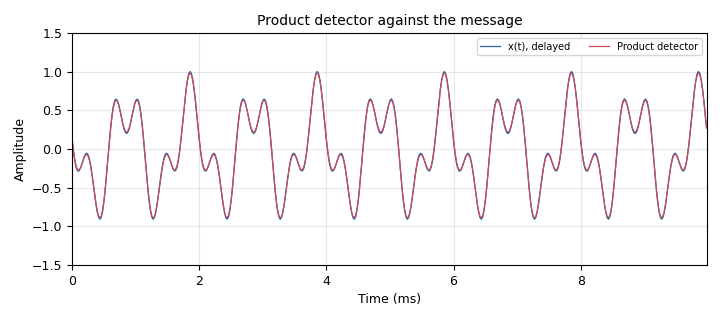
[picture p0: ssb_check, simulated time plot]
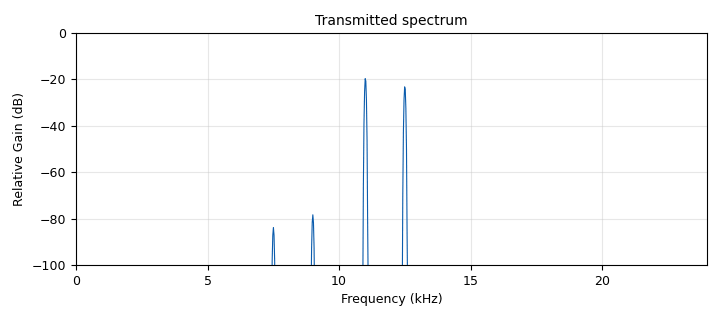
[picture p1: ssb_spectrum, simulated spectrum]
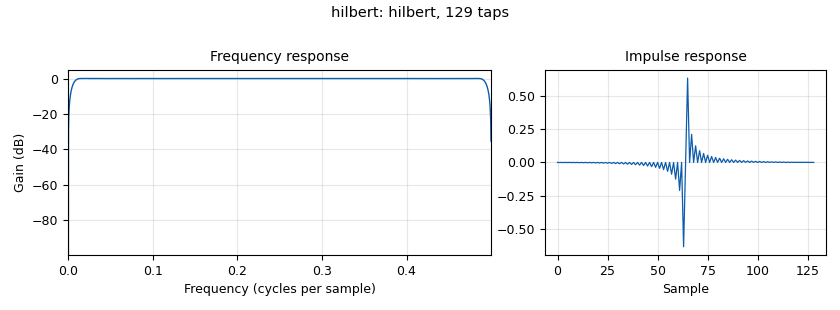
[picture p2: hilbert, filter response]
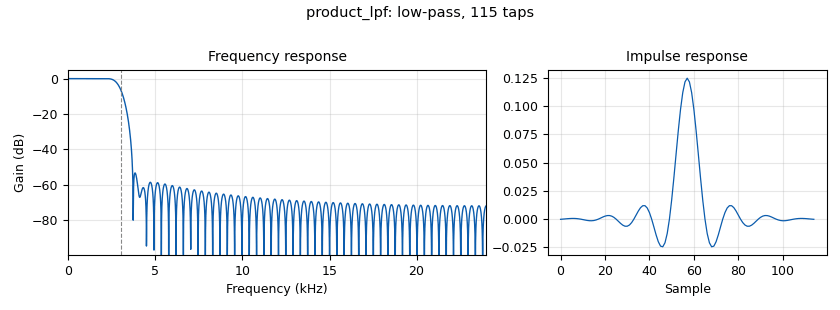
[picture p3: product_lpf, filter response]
options:
  parameters:
    author: ECE 448
    description: 'L6: the same message as single sideband, made by the phasing method with a Hilbert transform, and received with a product detector. Switch USB and LSB, and mistune the receiver.'
    generate_options: qt_gui
    id: L06_ssb
    output_language: python
    title: L6 - SSB
  states: {}

blocks:
- name: df
  id: variable_qtgui_range
  parameters:
    gui_hint: 0,0,1,1
    label: Receiver tuning error (Hz)
    start: '-500'
    step: '10'
    stop: '500'
    value: '0'
  states: {}
- name: fc
  id: variable
  parameters:
    value: '10000'
  states: {}
- name: hilbert_taps
  id: variable
  parameters:
    value: '129'
  states: {}
- name: lpf_taps
  id: variable_low_pass_filter_taps
  parameters:
    cutoff_freq: '3000'
    gain: '1.0'
    samp_rate: samp_rate
    width: '1000'
    win: window.WIN_HAMMING
  states: {}
- name: samp_rate
  id: variable
  parameters:
    value: '48000'
  states: {}
- name: sideband
  id: variable_qtgui_chooser
  parameters:
    gui_hint: 0,2,1,1
    label: Sideband
    label0: USB
    label1: LSB
    num_opts: '2'
    option0: '1'
    option1: '-1'
    type: int
    value: '1'
  states: {}
- name: vol
  id: variable_qtgui_range
  parameters:
    gui_hint: 0,1,1,1
    label: Volume
    start: '0'
    step: '0.05'
    stop: '1'
    value: '0.3'
  states: {}
- name: align
  id: blocks_delay
  parameters:
    delay: (hilbert_taps - 1)//2 + len(lpf_taps)//2
    type: float
  states: {}
- name: audio_sink_0
  id: audio_sink
  parameters:
    samp_rate: '48000'
  states: {}
- name: carrier
  id: analog_sig_source_x
  parameters:
    amp: '1'
    freq: sideband*fc
    offset: '0'
    phase: '0'
    samp_rate: samp_rate
    type: complex
    waveform: analog.GR_COS_WAVE
  states: {}
- name: hilbert
  id: hilbert_fc
  parameters:
    num_taps: hilbert_taps
  states: {}
- name: local_osc
  id: analog_sig_source_x
  parameters:
    amp: '1'
    freq: fc + df
    offset: '0'
    phase: '0'
    samp_rate: samp_rate
    type: float
    waveform: analog.GR_COS_WAVE
  states: {}
- name: message
  id: blocks_add_xx
  parameters:
    type: float
  states: {}
- name: modulator
  id: blocks_multiply_xx
  parameters:
    type: complex
  states: {}
- name: product
  id: blocks_multiply_xx
  parameters:
    type: float
  states: {}
- name: product_lpf
  id: fir_filter_xxx
  parameters:
    decim: '1'
    taps: lpf_taps
    type: fff
  states: {}
- name: ssb_check
  id: qtgui_time_sink_x
  parameters:
    entags: 'False'
    grid: 'True'
    gui_hint: 2,0,1,3
    label1: x(t), delayed
    label2: Product detector
    name: '"Product detector against the message"'
    nconnections: '2'
    size: '480'
    srate: samp_rate
    type: float
    width1: '4'
    width2: '2'
    ymax: '1.5'
    ymin: '-1.5'
  states: {}
- name: ssb_spectrum
  id: qtgui_freq_sink_x
  parameters:
    average: '0.2'
    bw: samp_rate
    fc: '0'
    fftsize: '2048'
    freqhalf: 'False'
    grid: 'True'
    gui_hint: 1,0,1,3
    label1: Transmitted
    legend: 'False'
    name: '"Transmitted spectrum"'
    type: float
    ymax: '0'
    ymin: '-100'
  states: {}
- name: take_real
  id: blocks_complex_to_real
  parameters: {}
  states: {}
- name: times_2
  id: blocks_multiply_const_vxx
  parameters:
    const: '2'
    type: float
  states: {}
- name: tone_1k
  id: analog_sig_source_x
  parameters:
    amp: '0.6'
    freq: '1000'
    offset: '0'
    phase: '0'
    samp_rate: samp_rate
    type: float
    waveform: analog.GR_COS_WAVE
  states: {}
- name: tone_2k5
  id: analog_sig_source_x
  parameters:
    amp: '0.4'
    freq: '2500'
    offset: '0'
    phase: '0'
    samp_rate: samp_rate
    type: float
    waveform: analog.GR_COS_WAVE
  states: {}
- name: volume
  id: blocks_multiply_const_vxx
  parameters:
    const: vol
    type: float
  states: {}

connections:
- [align, '0', ssb_check, '0']
- [carrier, '0', modulator, '1']
- [hilbert, '0', modulator, '0']
- [local_osc, '0', product, '1']
- [message, '0', align, '0']
- [message, '0', hilbert, '0']
- [modulator, '0', take_real, '0']
- [product, '0', product_lpf, '0']
- [product_lpf, '0', times_2, '0']
- [take_real, '0', product, '0']
- [take_real, '0', ssb_spectrum, '0']
- [times_2, '0', ssb_check, '1']
- [times_2, '0', volume, '0']
- [tone_1k, '0', message, '0']
- [tone_2k5, '0', message, '1']
- [volume, '0', audio_sink_0, '0']

metadata:
  file_format: 1
  grc_version: 3.10.9.2
